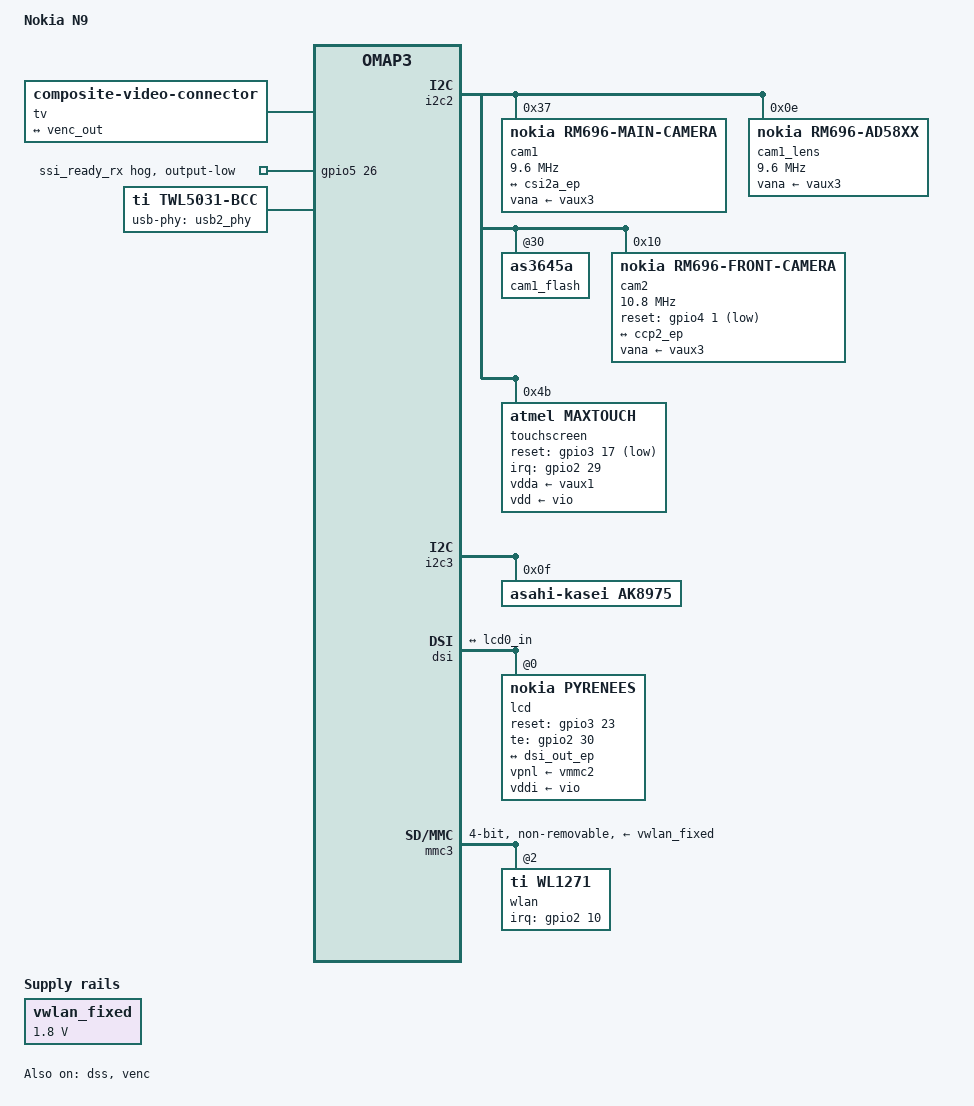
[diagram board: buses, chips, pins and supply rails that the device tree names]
// SPDX-License-Identifier: GPL-2.0-only
/*
 * omap3-n9.dts - Device Tree file for Nokia N9
 *
 * Written by: Aaro Koskinen <aaro.koskinen@iki.fi>
 */

/dts-v1/;

#include "omap3-n950-n9.dtsi"
#include <dt-bindings/input/input.h>
#include <dt-bindings/media/video-interfaces.h>
#include "omap3-n9-audio.dtsi"
#include "omap3-n9-nokia.dtsi"

/ {
	model = "Nokia N9";
	compatible = "nokia,omap3-n9", "ti,omap3630", "ti,omap3";
};

/*
 * The cameras as stock's board-rm696-camera.c, with Harmattan's drivers (nokia-camera): the main
 * module powers up at 0x10 and its driver moves it to 0x37, where stock's userspace finds its
 * sysfs; the front module stays at 0x10 (XSHUTDOWN, GPIO 97, low until it is used); the main
 * module's lens at 0x0e, its flash at 0x30 (as3645a, omap3-n950-n9.dtsi). VANA (VAUX3) is
 * shared; XCLKA 9.6 MHz (main sensor and lens), XCLKB 10.8 MHz (front)
 */
&i2c2 {
	cam1: camera@37 {
		compatible = "nokia,rm696-main-camera";
		reg = <0x37>;
		vana-supply = <&vaux3>;
		clocks = <&isp 0>;
		clock-frequency = <9600000>;
		lens-focus = <&cam1_lens>;
		flash-leds = <&cam1_flash>;
		port {
			cam1_ep: endpoint {
				clock-lanes = <0>;
				data-lanes = <1 2>;
				remote-endpoint = <&csi2a_ep>;
			};
		};
	};

	cam1_lens: lens@e {
		compatible = "nokia,rm696-ad58xx";
		reg = <0x0e>;
		vana-supply = <&vaux3>;
		clocks = <&isp 0>;
		clock-frequency = <9600000>;
	};

	cam1_flash: as3645a@30 {
	};

	cam2: camera@10 {
		compatible = "nokia,rm696-front-camera";
		reg = <0x10>;
		vana-supply = <&vaux3>;
		clocks = <&isp 1>;
		clock-frequency = <10800000>;
		reset-gpios = <&gpio4 1 GPIO_ACTIVE_LOW>;	/* 97: XSHUTDOWN */
		rotation = <180>;
		port {
			cam2_ep: endpoint {
				bus-type = <MEDIA_BUS_TYPE_CSI1>;
				remote-endpoint = <&ccp2_ep>;
			};
		};
	};
};

&i2c3 {
	ak8975@f {
		compatible = "asahi-kasei,ak8975";
		reg = <0x0f>;
	};
};

&isp {
	vdd-csiphy1-supply = <&vaux2>;
	vdd-csiphy2-supply = <&vaux2>;
	ports {
		/* The front camera: CSIPHY1, MIPI CSI-1 (stock: ccp2_mode 0), data/clock (phy_layer 0) */
		port@1 {
			reg = <1>;
			ccp2_ep: endpoint {
				remote-endpoint = <&cam2_ep>;
				bus-type = <MEDIA_BUS_TYPE_CSI1>;
				clock-lanes = <1>;
				data-lanes = <2>;
				lane-polarities = <0 0>;
				clock-inv = <0>;
				strobe = <0>;
				crc = <0>;
			};
		};
		port@2 {
			reg = <2>;
			csi2a_ep: endpoint {
				remote-endpoint = <&cam1_ep>;
				clock-lanes = <2>;
				data-lanes = <1 3>;
				crc = <1>;
				lane-polarities = <1 1 1>;
			};
		};
	};
};

&modem {
	compatible = "nokia,n9-modem";
};

&lis302 {
	st,axis-x = <1>;    /* LIS3_DEV_X */
	st,axis-y = <(-2)>; /* LIS3_INV_DEV_Y */
	st,axis-z = <(-3)>; /* LIS3_INV_DEV_Z */

	st,min-limit-x = <(-46)>;
	st,min-limit-y = <3>;
	st,min-limit-z = <3>;

	st,max-limit-x = <(-3)>;
	st,max-limit-y = <46>;
	st,max-limit-z = <46>;
};

&twl_keypad {
	linux,keymap = < MATRIX_KEY(6, 8, KEY_VOLUMEUP)
			 MATRIX_KEY(7, 8, KEY_VOLUMEDOWN)
			 >;
};

/* The display: as the N950's (omap3-n950.dts), with the N9's lanes and panel (from Filip Matijević's
 * N9 display patch for postmarketOS, 2017) */
&omap3_pmx_core {
	pinctrl-names = "default";
	pinctrl-0 = <&wakeup_pins>;

	/*
	 * Pads no driver muxes, as stock runs them: NOLO's settings (read at boot, before pinctrl-single
	 * clears their wake bits) and the SDRAM's CKE pads as Nokia's kernel muxed them
	 * (board-rm696.c; SPRZ319F 1.40: the ROM leaves them in safe mode with a pull-up)
	 */
	wakeup_pins: wakeup-pins {
		pinctrl-single,pins = <
			OMAP3_CORE1_IOPAD(0x20b2, PIN_INPUT_PULLDOWN | PIN_OFF_WAKEUPENABLE | MUX_MODE4)	/* gpio_53, DAC33 */
			OMAP3_CORE1_IOPAD(0x20c8, PIN_INPUT_PULLUP | PIN_OFF_WAKEUPENABLE | MUX_MODE4)	/* gpio_61, touch */
			OMAP3_CORE1_IOPAD(0x20f6, PIN_INPUT_PULLUP | PIN_OFF_WAKEUPENABLE | MUX_MODE4)	/* gpio_83, APDS990x */
			OMAP3_CORE1_IOPAD(0x210e, PIN_INPUT_PULLDOWN | PIN_OFF_WAKEUPENABLE | MUX_MODE4)	/* gpio_95, GPS host request */
			OMAP3_CORE1_IOPAD(0x211a, PIN_INPUT | PIN_OFF_WAKEUPENABLE | MUX_MODE4)	/* gpio_101, BT host wakeup */
			OMAP3_CORE1_IOPAD(0x21e0, PIN_INPUT_PULLUP | PIN_OFF_WAKEUPENABLE | MUX_MODE0)	/* sys_nirq, TWL */
			OMAP3_CORE1_IOPAD(0x20e8, PIN_INPUT_PULLDOWN | PIN_OFF_WAKEUPENABLE | MUX_MODE4)	/* gpio_76, NFC */
			OMAP3_CORE1_IOPAD(0x219e, PIN_INPUT_PULLUP | PIN_OFF_WAKEUPENABLE | MUX_MODE0)	/* uart3_rx_irrx */
			OMAP3_CORE1_IOPAD(0x2262, MUX_MODE0)	/* sdrc_cke0 */
			OMAP3_CORE1_IOPAD(0x2264, MUX_MODE0)	/* sdrc_cke1 */
		>;
	};

	dsi_pins: dsi-pins {
		pinctrl-single,pins = <
			OMAP3_CORE1_IOPAD(0x20dc, PIN_OUTPUT | MUX_MODE1) /* dsi_dx0 */
			OMAP3_CORE1_IOPAD(0x20de, PIN_OUTPUT | MUX_MODE1) /* dsi_dy0 */
			OMAP3_CORE1_IOPAD(0x20e0, PIN_OUTPUT | MUX_MODE1) /* dsi_dx1 */
			OMAP3_CORE1_IOPAD(0x20e2, PIN_OUTPUT | MUX_MODE1) /* dsi_dy1 */
			OMAP3_CORE1_IOPAD(0x20e4, PIN_OUTPUT | MUX_MODE1) /* dsi_dx2 */
			OMAP3_CORE1_IOPAD(0x20e6, PIN_OUTPUT | MUX_MODE1) /* dsi_dy2 */
		>;
	};

	display_pins: display-pins {
		pinctrl-single,pins = <
			OMAP3_CORE1_IOPAD(0x20ca, PIN_INPUT_PULLDOWN | PIN_OFF_WAKEUPENABLE | MUX_MODE4) /* gpio 62 - display te */
			OMAP3_CORE1_IOPAD(0x20fe, PIN_OUTPUT | MUX_MODE4) /* gpio 87 - display reset */
		>;
	};
};

/*
 * sgx: the kernel log kept in RAM across a warm reset (pstore/ramoops): with the test kernel armed
 * again, a panic's log survives into the next boot (ramboot/init copies it to MyDocs/.ramboot)
 */
/ {
	reserved-memory {
		#address-cells = <1>;
		#size-cells = <1>;
		ranges;

		ramoops@8f000000 {
			compatible = "ramoops";
			reg = <0x8f000000 0x100000>;
			record-size = <0x20000>;
			console-size = <0x40000>;
		};

		/*
		 * The HS secure RAM's image for the ROM to restore after CORE OFF (48 KiB + 0x40), as
		 * stock's boot-time reservation (pm34xx.c, OMAP_SECURE_COPY_AREA_SIZE): the ROM saves it
		 * only below 0x8fffffff (stock pm.h). Mapped, as stock's: the kernel never writes it. With
		 * no-map here the kernel died before its console came up (boots 231, 232).
		 */
		secure-ram@8f100000 {
			reg = <0x8f100000 0x10000>;
		};

		/* the DSP bridge's pool (below), as stock's boot-time carveout for its 5 MiB of SHM */
		dsp_pool: dsp-pool {
			size = <0x600000>;
			alignment = <0x100000>;
			no-map;
		};

		/*
		 * omapfb's video memory (DSS memory-region below), stock's VRAM: board-rm696-video.c
		 * rm696_video_mem_init(), GFX 856x512 16 bpp x 3 + VID1/2 1280x720 16 bpp x 6 (13.05 MiB);
		 * 14 MiB, so the Xv buffers also fit next to fb0 (omap2fb.vram=0:2629632)
		 */
		omapfb_vram: omapfb-vram {
			size = <0xe00000>;
			alignment = <0x100000>;
			no-map;
		};
	};

	/*
	 * The DSP bridge (bridgedriver.ko, for Harmattan's gst-dsp): its memory, never mapped by the kernel
	 * (the bridge ioremaps it, userspace mmaps the shared-memory segment); the DSP mailbox; the IVA2
	 * MMU's and WDT3's interrupts. mmu_iva stays disabled: the bridge drives the IVA2 MMU itself
	 */
	dsp-bridge {
		compatible = "ti,omap3-dspbridge";
		memory-region = <&dsp_pool>;
		mboxes = <&mailbox &mbox_dsp>;
		mbox-names = "dsp";
		interrupts = <28>, <36>;
		interrupt-names = "mmu", "wdt";
	};
};

&dss {
	status = "okay";

	vdda_video-supply = <&vdac>;
	memory-region = <&omapfb_vram>;
};

/*
 * sgx: GPIO bank 3 as NOLO left it (no reset at boot, as stock): its gpio 87 holds the panel out of
 * reset, so NOLO's picture stays until Harmattan draws (omapfb-takeover.patch)
 */
&gpio3 {
	ti,no-reset-on-init;
};

/*
 * The modem link held still around an SSI clock change or flush as Nokia's omap_ssi did (its DVFS
 * workaround, board-rm696-peripherals.c, mach-omap2/ssi.c): only the ready lines change. The
 * modem's ready to us goes low through the pad's pull-down, ours to the modem is GPIO 154 driven low;
 * data, flag and wake lines stay with the SSI.
 */
&ssi_pins_idle {
	pinctrl-single,pins = <
		OMAP3_CORE1_IOPAD(0x2180, PIN_INPUT_PULLDOWN | MUX_MODE7)	/* ssi1_rdy_tx */
		OMAP3_CORE1_IOPAD(0x2188, PIN_OUTPUT | MUX_MODE4)		/* ssi1_rdy_rx: gpio 154 */
	>;
};

&gpio5 {
	ssi-ready-rx-hog {
		gpio-hog;
		gpios = <26 GPIO_ACTIVE_HIGH>;	/* gpio 154 */
		output-low;
		line-name = "ssi_ready_rx";
	};
};

/*
 * GPIO 92 gates sys_clkreq and sys_off_mode onto the front white and back red lights (R&D sleep
 * indicators). Off at boot, as stock drove GPIO 92 low (board-gpio-export.c); writing 1 to
 * /sys/class/leds/debug::sleep/brightness shows them: dark while the device is in retention or off
 */
&{/leds/heartbeat} {
	/delete-property/ linux,default-trigger;
};

&dsi {
	status = "okay";

	pinctrl-names = "default";
	pinctrl-0 = <&dsi_pins>;

	vdd-supply = <&vpll2>;

	port {
		dsi_out_ep: endpoint {
			remote-endpoint = <&lcd0_in>;
			lanes = <2 3 4 5 0 1>;
		};
	};

	lcd0: panel@0 {
		compatible = "nokia,pyrenees", "panel-dsi-cm";
		reg = <0>;
		label = "lcd";	/* stock's name, which Harmattan's X driver looks for */

		pinctrl-names = "default";
		pinctrl-0 = <&display_pins>;

		vpnl-supply = <&vmmc2>;
		vddi-supply = <&vio>;

		reset-gpios = <&gpio3 23 GPIO_ACTIVE_HIGH>;	/* 87 */
		te-gpios = <&gpio2 30 GPIO_ACTIVE_HIGH>;	/* 62 */

		width-mm = <48>; /* 48.240 mm */
		height-mm = <87>; /* 86.832 mm */

		/* Landscape 854x480, as the stock kernel runs it (rotate 1) for Harmattan's X */
		rotation = <90>;

		/*
		 * The panel's frame is 480x864; stock shows 854 of its rows, from row 0. The DSI
		 * command-mode driver (omapfb's panel-dsi-cm, patched) takes the back porches as the
		 * visible area's offset.
		 */
		panel-timing {
			clock-frequency = <0>;		/* from the frame rate (panel-dsi-cm), DSI adds 1.5x */

			hback-porch = <0>;
			hactive = <480>;
			hfront-porch = <0>;
			hsync-len = <2>;

			vback-porch = <0>;
			vactive = <854>;
			vfront-porch = <10>;
			vsync-len = <1>;

			hsync-active = <0>;
			vsync-active = <0>;
			de-active = <1>;
			pixelclk-active = <1>;
		};

		port {
			lcd0_in: endpoint {
				remote-endpoint = <&dsi_out_ep>;
			};
		};
	};
};

/* TV-out (composite, through the AV jack), as the N900's (omap3-n900.dts): stock has it as display
 * "tv", which Harmattan's X driver requires */
/ {
	tv: connector {
		compatible = "composite-video-connector";
		label = "tv";

		port {
			tv_connector_in: endpoint {
				remote-endpoint = <&venc_out>;
			};
		};
	};
};

&venc {
	status = "okay";

	vdda-supply = <&vdac>;

	port {
		venc_out: endpoint {
			remote-endpoint = <&tv_connector_in>;
			ti,channels = <1>;
		};
	};
};

/*
 * Harmattan on this kernel. Numbering as the stock 2.6.32 kernel's, which Harmattan's userspace
 * hardcodes: I2C buses 1-3 (BME opens /dev/i2c-1 for the TWL5031, FCam /dev/i2c-2), GPIO banks from
 * number 0 (BME: sysfs gpio162), which gpio-omap-legacy-base.patch reads from these aliases.
 */
/ {
	aliases {
		/delete-property/ i2c0;
		i2c1 = &i2c1;
		i2c2 = &i2c2;
		i2c3 = &i2c3;
		gpio0 = &gpio1;
		gpio1 = &gpio2;
		gpio2 = &gpio3;
		gpio3 = &gpio4;
		gpio4 = &gpio5;
		gpio5 = &gpio6;
	};
};

/* Power-off as stock (n9_power_off(); twl4030_power.poweroff_halt=1 halts instead, for tests) */
&twl_power {
	compatible = "nokia,twl5031-power-n9", "ti,twl4030-power";	/* Nokia's sleep scripts */
};

/* The TWL5031's charger (BCC) is not the TWL4030 BCI this node's driver programs; BME drives it */
&charger {
	status = "disabled";
};

/*
 * The CPU's operating points. Stock runs every N9 up to 1 GHz (/etc/pmconfig), so OPP1G is a normal
 * OPP here, whatever the DM37x speed-bin efuse says (mainline makes it turbo-only, for binned parts).
 * Above it, a little overclock as boost OPPs, off by default:
 *	echo 1 > /sys/devices/system/cpu/cpufreq/boost
 * The N9 community's overclocks (talk.maemo.org) went to 1.2-1.3 GHz and settled on 1.2 GHz as the
 * daily ceiling; chips differ (some unstable past 950 MHz, others fine at 1.15 GHz). The ABB stays
 * in FBB (its 1.375 V entry, all ti-abb knows); VDD1 goes up 12.5 mV for 1.1 GHz and 25 mV for
 * 1.2 GHz (its regulator's maximum is 1.45 V). Each boost OPP needs a VDD1 voltage of its own:
 * SmartReflex's nTarget is per voltage, and OPP1G's would steer a faster clock's VDD1 down to what
 * 1 GHz needs; at a voltage without an eFuse of its own SmartReflex stays off. The thermal zone
 * still throttles.
 */
&cpu0_opp_table {
	opp-1000000000 {
		/delete-property/ turbo-mode;
		opp-supported-hw = <0xffffffff 3>;
	};

	opp-1100000000 {
		opp-hz = /bits/ 64 <1100000000>;
		opp-microvolt = <1387500 1387500 1387500>,
				 <1375000 1375000 1375000>;
		opp-supported-hw = <0xffffffff 3>;
		turbo-mode;
	};

	opp-1200000000 {
		opp-hz = /bits/ 64 <1200000000>;
		opp-microvolt = <1400000 1400000 1400000>,
				 <1375000 1375000 1375000>;
		opp-supported-hw = <0xffffffff 3>;
		turbo-mode;
	};
};

/*
 * The CPU's temperature every 5 s instead of every second: a read of the OMAP3630's bandgap (mainline
 * marks it unreliable) busy-waits for its conversion, up to 2.5 ms when that times out, which it
 * does a few times a boot; stock read no CPU sensor. Above the passive trip (80 C) the zone still
 * polls every 250 ms.
 */
&cpu_thermal {
	polling-delay = <5000>;
};

/* The touchscreen, as stock's board file (board-rm696-peripherals.c): IRQ GPIO 61, reset GPIO 81 */
&i2c2 {
	touchscreen@4b {
		compatible = "atmel,maxtouch";
		reg = <0x4b>;
		interrupts-extended = <&gpio2 29 IRQ_TYPE_EDGE_FALLING>;
		reset-gpios = <&gpio3 17 GPIO_ACTIVE_LOW>;
		vdda-supply = <&vaux1>;
		vdd-supply = <&vio>;
	};
};

/*
 * The charger's presence and type for BME (twl5031-bcc.patch); BME drives the charger itself. The
 * type comes from the USB PHY's charger detection
 */
&twl {
	bcc {
		compatible = "ti,twl5031-bcc";
		usb-phy = <&usb2_phy>;
	};
};

/*
 * WLAN: the WL1271 on MMC3 (SDIO), as the N9's stock board file (board-rm696-peripherals.c): MMC3's
 * pads (mode 3 of mcspi1_cs1/cs2 and of the eMMC's unused dat4-7, which is why the eMMC runs 4-bit),
 * the VWLAN switch (GPIO 35, vwlan_fixed) and the IRQ (GPIO 42), with its 38.4 MHz reference clock
 * (vctcxo). The N950 has it on SPI instead.
 */
&omap3_pmx_core {
	mmc3_pins: mmc3-pins {
		pinctrl-single,pins = <
			OMAP3_CORE1_IOPAD(0x21d2, PIN_INPUT_PULLUP | MUX_MODE3)	/* mcspi1_cs2.sdmmc3_clk */
			OMAP3_CORE1_IOPAD(0x21d0, PIN_INPUT_PULLUP | MUX_MODE3)	/* mcspi1_cs1.sdmmc3_cmd */
			OMAP3_CORE1_IOPAD(0x2164, PIN_INPUT_PULLUP | MUX_MODE3)	/* sdmmc2_dat4.sdmmc3_dat0 */
			OMAP3_CORE1_IOPAD(0x2166, PIN_INPUT_PULLUP | MUX_MODE3)	/* sdmmc2_dat5.sdmmc3_dat1 */
			OMAP3_CORE1_IOPAD(0x2168, PIN_INPUT_PULLUP | MUX_MODE3)	/* sdmmc2_dat6.sdmmc3_dat2 */
			OMAP3_CORE1_IOPAD(0x216a, PIN_INPUT_PULLUP | MUX_MODE3)	/* sdmmc2_dat7.sdmmc3_dat3 */
		>;
	};
};

&mmc3 {
	status = "okay";
	pinctrl-names = "default";
	pinctrl-0 = <&mmc3_pins &wlan_pins>;
	vmmc-supply = <&vwlan_fixed>;
	bus-width = <4>;
	non-removable;
	cap-power-off-card;
	#address-cells = <1>;
	#size-cells = <0>;

	wlan: wifi@2 {
		compatible = "ti,wl1271";
		reg = <2>;
		interrupts-extended = <&gpio2 10 IRQ_TYPE_LEVEL_HIGH>;	/* gpio 42 */
		ref-clock-frequency = <38400000>;
	};
};

/*
 * VWLAN at 1.8 V, as Nokia's VSDIO (rm696_vsdio_config): the MMC host takes the card's voltage
 * window (OCR) from it, and fails without one. 70 ms to power up, as mainline's wl12xx boards (panda).
 */
&vwlan_fixed {
	regulator-min-microvolt = <1800000>;
	regulator-max-microvolt = <1800000>;
	startup-delay-us = <70000>;
};
